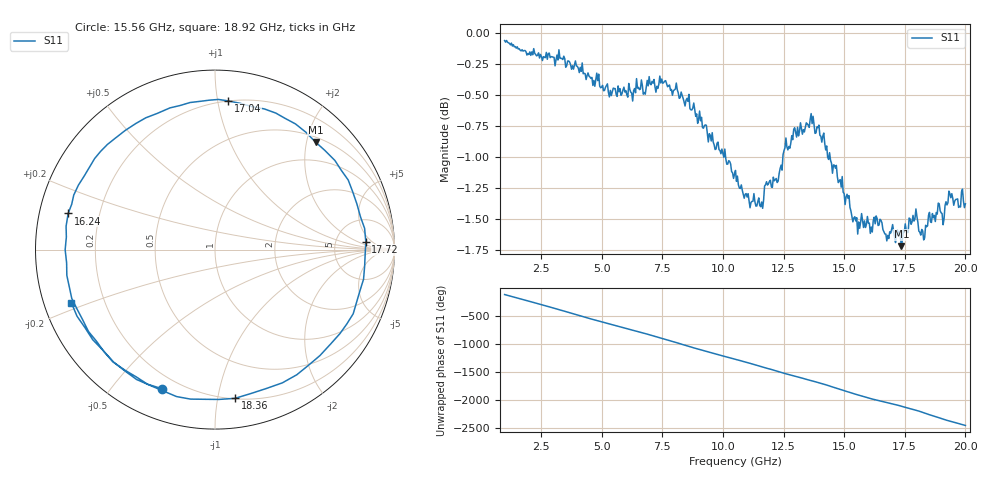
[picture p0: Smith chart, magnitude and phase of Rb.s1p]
!Agilent Technologies,E8361C,US49010278,A.09.20.08
!Agilent E8361C: A.09.20.08
!Date: Tuesday, December 15, 2015 15:57:04
!Correction: S22(Full 2 Port(1,2))
!S1P File: Measurement: S22:
# Hz S  RI  R 50
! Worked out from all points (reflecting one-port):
!   476 points, 1 GHz to 20 GHz, reference 50 ohm
!   lowest |S11| = -1.7 dB at 17.36 GHz (marker M1), VSWR 10.12, Z = 29.6 + j108 ohm
!   phase of S11 starts at -122 deg and turns -2334 deg over the sweep
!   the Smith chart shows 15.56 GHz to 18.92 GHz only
!   S11 on the Smith chart (normalised r, x): 15.56 GHz: 0.14, -0.68; 16.24 GHz: 0.09, +0.12; 17.04 GHz: 0.20, +1.07; 17.72 GHz: 11, +3; 18.36 GHz: 0.20, -1.12; 18.92 GHz: 0.08, -0.18
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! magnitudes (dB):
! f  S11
! 1 GHz  -0.1
! 3.4 GHz  -0.2
! 5.36 GHz  -0.5
! 5.76 GHz  -0.5
! 7.48 GHz  -0.4
! 8.16 GHz  -0.5
! 10.52 GHz  -1.1
! 11.16 GHz  -1.4
! 11.6 GHz  -1.4
! 11.8 GHz  -1.2
! 12.24 GHz  -1.2
! 12.56 GHz  -0.9
! 12.88 GHz  -0.9
! 13.68 GHz  -0.7
! 15.28 GHz  -1.4
! 15.56 GHz  -1.6
! 16.24 GHz  -1.5
! 17.04 GHz  -1.6
! 17.36 GHz  -1.7
! 17.64 GHz  -1.6
! 17.72 GHz  -1.5
! 17.92 GHz  -1.5
! 18.2 GHz  -1.6
! 18.36 GHz  -1.6
! 18.92 GHz  -1.4
! 19.08 GHz  -1.5
! 19.4 GHz  -1.3
! 20 GHz  -1.4
